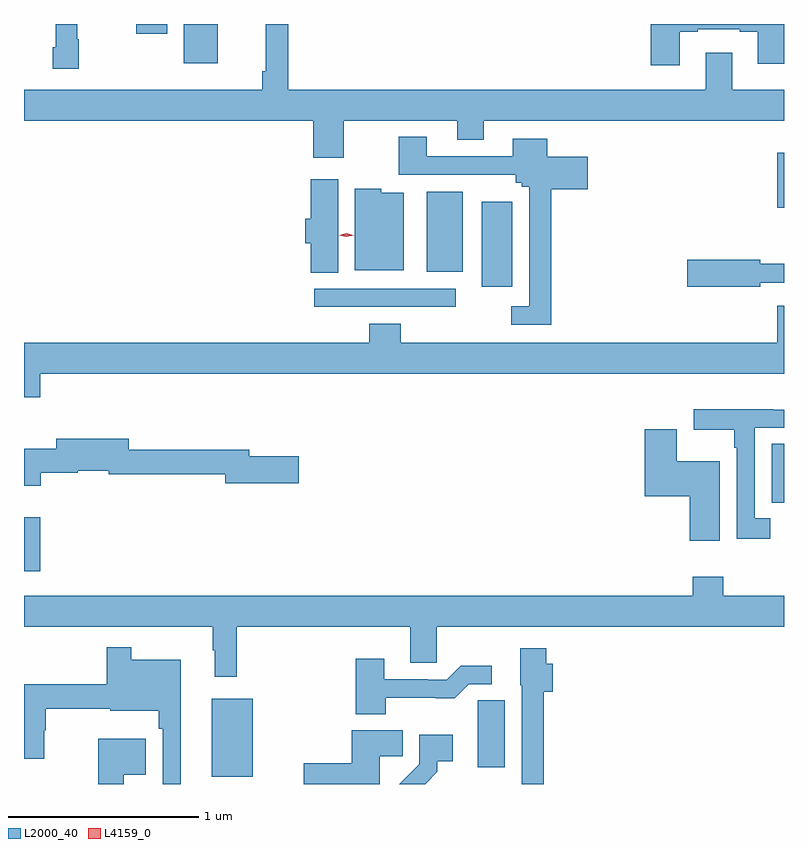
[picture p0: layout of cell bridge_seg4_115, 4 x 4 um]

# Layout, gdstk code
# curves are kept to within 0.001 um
import gdstk
lib = gdstk.Library(unit=1e-6, precision=1e-09)
def R(c, l, rs):  # rectangles x0, y0, x1, y1
    for r in rs: c.add(gdstk.rectangle(r[:2], r[2:], *l))
def P(c, l, *ps):  # polygons
    for p in ps: c.add(gdstk.Polygon(p, *l))
L2000_40 = (2000, 40)
L4159_0 = (4159, 0)

bridge_seg4_115 = lib.new_cell('bridge_seg4_115')
R(bridge_seg4_115, L2000_40, [(363.743,785.375,363.958,785.785), (362.754,786.456,362.84,786.742), (366.689,786.816,366.754,787.127), (364.281,787.848,365.026,787.944), (365.162,787.953,365.323,788.401), (364.874,788.033,365.062,788.455), (366.719,788.369,366.754,788.659), (363.596,789.131,363.775,789.337), (363.344,789.285,363.508,789.337)])
P(bridge_seg4_115, L2000_40, [(363.041,789.258),(363.034,789.258),(363.034,789.337),(362.92,789.337),(362.92,789.214),(362.905,789.214),(362.905,789.102),(363.041,789.102)],
  [(364.437,788.828),(365.033,788.828),(365.033,788.729),(365.173,788.729),(365.173,788.828),(366.754,788.828),(366.754,788.992),(366.481,788.992),(366.481,789.187),(366.341,789.187),(366.341,788.992),(364.145,788.992),(364.145,789.337),(364.027,789.337),(364.027,789.088),(364.009,789.088),(364.009,788.992),(362.754,788.992),(362.754,788.828),(364.277,788.828),(364.277,788.634),(364.437,788.634)],
  [(366.205,789.297),(366.301,789.297),(366.301,789.309),(366.521,789.309),(366.521,789.297),(366.617,789.297),(366.617,789.128),(366.754,789.128),(366.754,789.337),(366.053,789.337),(366.053,789.12),(366.205,789.12)],
  [(365.528,788.468),(365.722,788.468),(365.722,788.638),(365.509,788.638),(365.509,788.734),(365.327,788.734),(365.327,788.64),(364.873,788.64),(364.873,788.743),(364.726,788.743),(364.726,788.544),(365.342,788.544),(365.342,788.502),(365.373,788.502),(365.373,788.48),(365.412,788.48),(365.412,787.851),(365.319,787.851),(365.319,787.755),(365.528,787.755)],
  [(364.408,788.521),(364.262,788.521),(364.262,788.313),(364.235,788.313),(364.235,788.183),(364.262,788.183),(364.262,788.029),(364.408,788.029)],
  [(364.753,788.449),(364.635,788.449),(364.635,788.47),(364.496,788.47),(364.496,788.042),(364.753,788.042)],
  [(366.63,787.974),(366.754,787.974),(366.754,788.075),(366.63,788.075),(366.63,788.096),(366.246,788.096),(366.246,787.954),(366.63,787.954)],
  [(362.84,787.496),(366.754,787.496),(366.754,787.855),(366.719,787.855),(366.719,787.66),(364.736,787.66),(364.736,787.759),(364.571,787.759),(364.571,787.66),(362.754,787.66),(362.754,787.372),(362.84,787.372)],
  [(366.682,786.735),(366.6,786.735),(366.6,787.212),(366.754,787.212),(366.754,787.308),(366.697,787.308),(366.697,787.31),(366.279,787.31),(366.279,787.202),(366.492,787.202),(366.492,787.106),(366.504,787.106),(366.504,786.627),(366.682,786.627)],
  [(366.415,787.036),(366.19,787.036),(366.19,787.204),(366.02,787.204),(366.02,786.851),(366.257,786.851),(366.257,786.618),(366.415,786.618)],
  [(362.842,786.974),(363.038,786.974),(363.038,786.986),(363.2,786.986),(363.2,786.967),(363.812,786.967),(363.812,786.92),(364.201,786.92),(364.201,787.062),(363.94,787.062),(363.94,787.096),(363.304,787.096),(363.304,787.153),(362.924,787.153),(362.924,787.102),(362.754,787.102),(362.754,786.908),(362.842,786.908)],
  [(363.875,786.164),(364.787,786.164),(364.787,785.974),(364.926,785.974),(364.926,786.164),(366.754,786.164),(366.754,786.328),(366.435,786.328),(366.435,786.427),(366.275,786.427),(366.275,786.328),(362.754,786.328),(362.754,786.164),(363.747,786.164),(363.747,786.041),(363.758,786.041),(363.758,785.901),(363.875,785.901)],
  [(363.58,785.992),(363.319,785.992),(363.319,786.058),(363.19,786.058),(363.19,785.863),(362.754,785.863),(362.754,785.469),(362.86,785.469),(362.86,785.619),(362.868,785.619),(362.868,785.734),(363.209,785.734),(363.209,785.723),(363.463,785.723),(363.463,785.627),(363.483,785.627),(363.483,785.337),(363.58,785.337)],
  [(365.489,785.822),(365.537,785.822),(365.537,785.97),(365.502,785.97),(365.502,786.052),(365.366,786.052),(365.366,785.856),(365.373,785.856),(365.373,785.337),(365.489,785.337)],
  [(364.659,785.79),(365.021,785.789),(365.094,785.862),(365.215,785.862),(365.215,785.959),(365.053,785.959),(364.98,785.886),(364.88,785.886),(364.88,785.889),(364.651,785.889),(364.651,785.995),(364.499,785.995),(364.499,785.705),(364.659,785.705)],
  [(365.284,785.777),(365.142,785.777),(365.142,785.666),(365.141,785.666),(365.141,785.424),(365.284,785.424)],
  [(364.627,785.482),(364.748,785.482),(364.748,785.62),(364.478,785.62),(364.478,785.447),(364.227,785.447),(364.227,785.337),(364.627,785.337)],
  [(364.93,785.401),(364.93,785.456),(365.011,785.456),(365.011,785.596),(364.833,785.596),(364.833,785.441),(364.729,785.337),(364.866,785.337)],
  [(363.28,785.387),(363.394,785.387),(363.394,785.575),(363.146,785.575),(363.146,785.337),(363.28,785.337)])
P(bridge_seg4_115, L4159_0, [(364.451,788.216),(364.413,788.225),(364.413,788.225),(364.413,788.226),(364.451,788.236),(364.489,788.226),(364.489,788.226),(364.489,788.226)])

lib.write_gds('bridge_seg4_115.gds')
